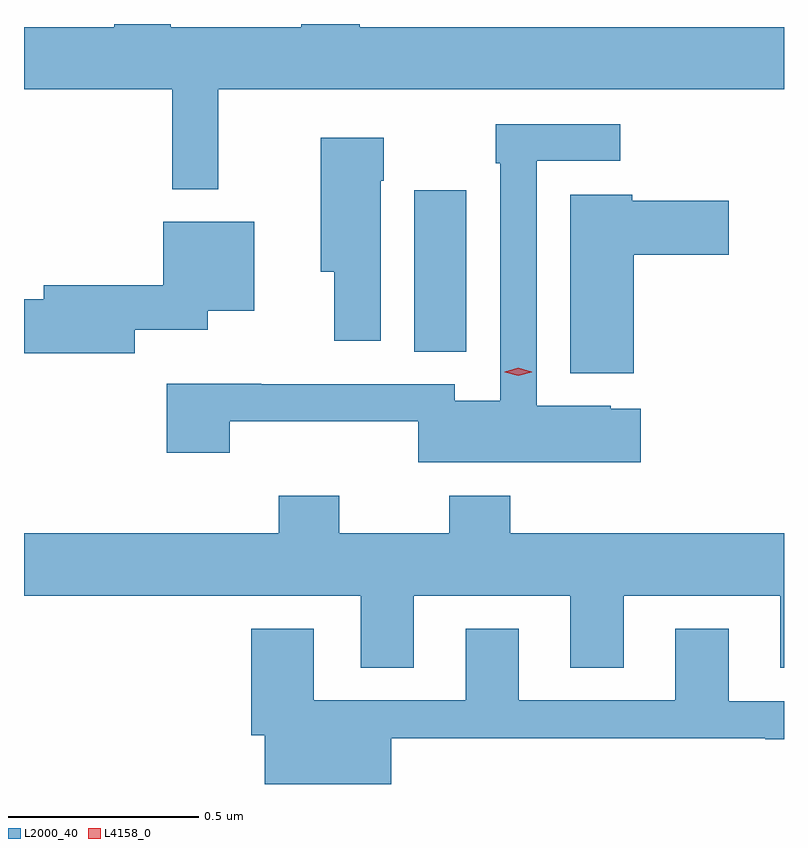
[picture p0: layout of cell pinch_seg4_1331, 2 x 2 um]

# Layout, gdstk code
import gdstk
lib = gdstk.Library(unit=1e-6, precision=1e-09)
def R(c, l, rs):  # rectangles x0, y0, x1, y1
    for r in rs: c.add(gdstk.rectangle(r[:2], r[2:], *l))
def P(c, l, *ps):  # polygons
    for p in ps: c.add(gdstk.Polygon(p, *l))
L2000_40 = (2000, 40)
L4158_0 = (4158, 0)

pinch_seg4_1331 = lib.new_cell('pinch_seg4_1331')
R(pinch_seg4_1331, L2000_40, [(269.69,772.153,269.827,772.579)])
P(pinch_seg4_1331, L2000_40, [(269.174,772.844),(270.663,772.844),(270.663,773.008),(269.546,773.008),(269.546,773.016),(269.393,773.016),(269.393,773.008),(269.049,773.008),(269.049,773.016),(268.901,773.016),(268.901,773.008),(268.663,773.008),(268.663,772.844),(269.053,772.844),(269.053,772.581),(269.174,772.581)],
  [(270.286,772.003),(270.207,772.003),(270.207,772.012),(270.012,772.012),(270.012,772.656),(270.232,772.656),(270.232,772.752),(269.904,772.752),(269.904,772.649),(269.916,772.649),(269.916,772.024),(269.796,772.024),(269.796,772.068),(269.287,772.068),(269.287,772.069),(269.039,772.069),(269.039,771.888),(269.204,771.888),(269.204,771.971),(269.7,771.971),(269.7,771.863),(270.286,771.863)],
  [(269.602,772.604),(269.61,772.604),(269.61,772.717),(269.444,772.717),(269.444,772.364),(269.48,772.364),(269.48,772.182),(269.602,772.182)],
  [(270.268,772.409),(270.517,772.409),(270.517,772.551),(270.264,772.551),(270.264,772.567),(270.101,772.567),(270.101,772.097),(270.268,772.097)],
  [(268.954,772.211),(269.146,772.211),(269.146,772.262),(269.269,772.262),(269.269,772.495),(269.03,772.495),(269.03,772.328),(268.715,772.328),(268.715,772.292),(268.663,772.292),(268.663,772.15),(268.954,772.15)],
  [(269.689,771.512),(270.101,771.512),(270.101,771.322),(270.241,771.322),(270.241,771.512),(270.653,771.512),(270.653,771.322),(270.663,771.322),(270.663,771.676),(269.942,771.676),(269.942,771.775),(269.782,771.775),(269.782,771.676),(269.493,771.676),(269.493,771.775),(269.333,771.775),(269.333,771.676),(268.663,771.676),(268.663,771.512),(269.549,771.512),(269.549,771.322),(269.689,771.322)],
  [(269.629,771.136),(270.613,771.136),(270.613,771.134),(270.663,771.134),(270.663,771.234),(270.517,771.234),(270.517,771.424),(270.377,771.424),(270.377,771.237),(269.965,771.237),(269.965,771.424),(269.825,771.424),(269.825,771.237),(269.425,771.237),(269.425,771.424),(269.261,771.424),(269.261,771.144),(269.297,771.144),(269.297,771.016),(269.629,771.016)])
P(pinch_seg4_1331, L4158_0, [(269.964,772.091),(269.928,772.1),(269.928,772.101),(269.928,772.101),(269.964,772.111),(269.999,772.101),(269.999,772.101),(269.999,772.1)])

lib.write_gds('pinch_seg4_1331.gds')
